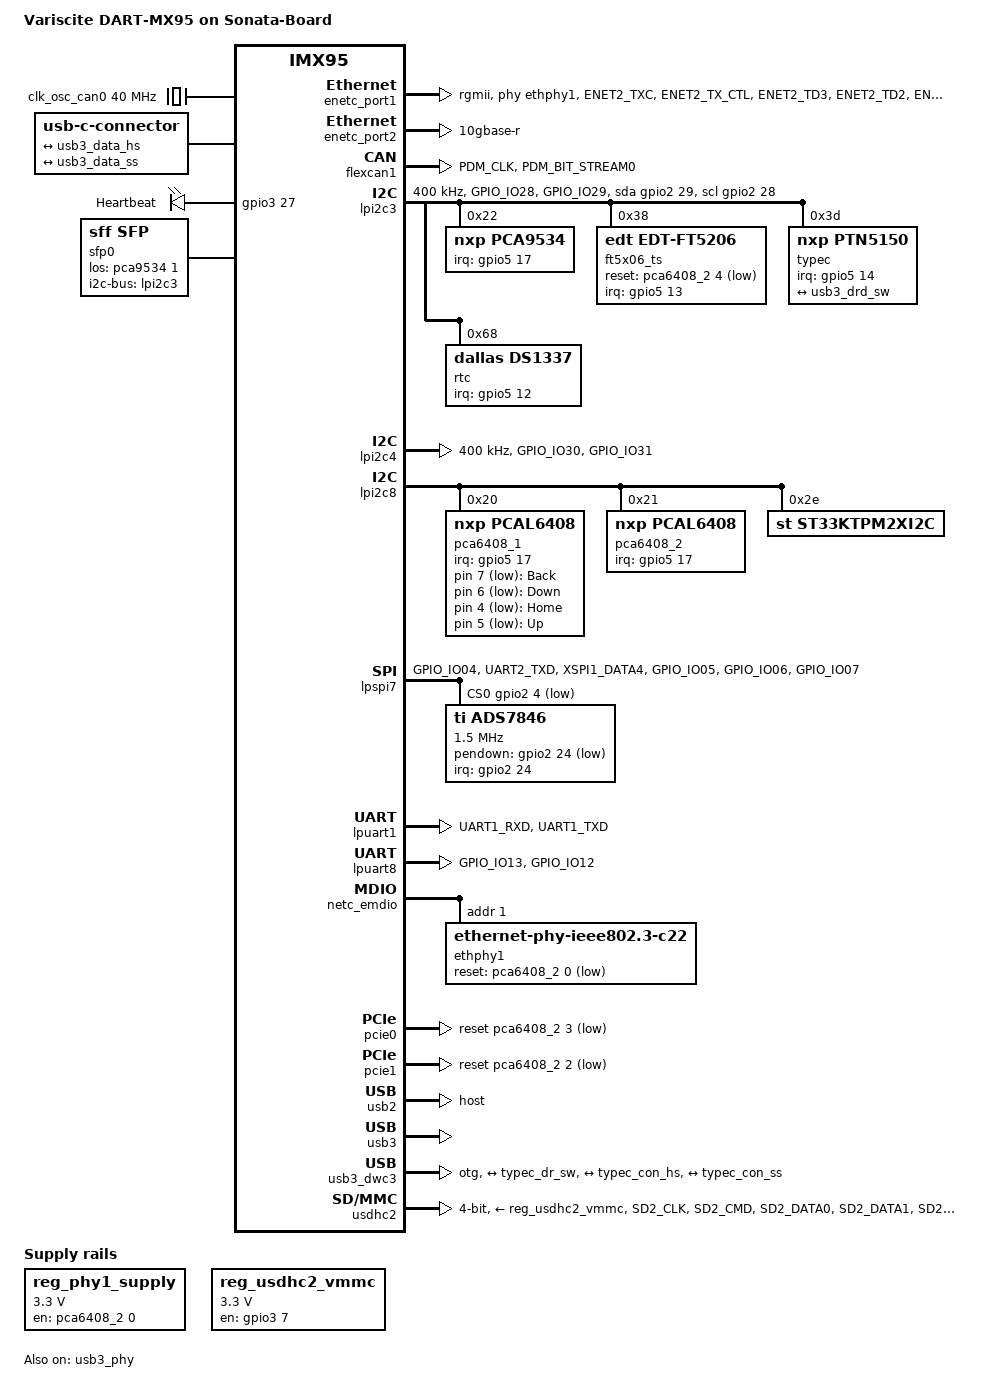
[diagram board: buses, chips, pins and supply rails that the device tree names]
// SPDX-License-Identifier: (GPL-2.0+ OR MIT)
/*
 * Variscite Sonata carrier board for DART-MX95
 *
 * Link: https://variscite.com/carrier-boards/sonata-board/
 *
 * Copyright (C) 2026 Variscite Ltd. - https://www.variscite.com/
 *
 */

#include "imx95-var-dart.dtsi"

/ {
	model = "Variscite DART-MX95 on Sonata-Board";
	compatible = "variscite,var-dart-mx95-sonata",
		     "variscite,var-dart-mx95",
		     "fsl,imx95";

	aliases {
		ethernet0 = &enetc_port0;
		ethernet1 = &enetc_port1;
		ethernet2 = &enetc_port2;
		mmc0 = &usdhc1;
		mmc1 = &usdhc2;
		serial0 = &lpuart1;
	};

	chosen {
		stdout-path = &lpuart1;
	};

	clk_osc_can0: clock-osc-40m {
		compatible = "fixed-clock";
		#clock-cells = <0>;
		clock-frequency = <40000000>;
	};

	typec_con: connector {
		compatible = "usb-c-connector";
		data-role = "dual";
		label = "USB-C";
		op-sink-microwatt = <0>;
		power-role = "dual";
		self-powered;
		sink-pdos = <PDO_FIXED(5000, 0, PDO_FIXED_USB_COMM)>;
		source-pdos = <PDO_FIXED(5000, 3000, PDO_FIXED_USB_COMM)>;
		try-power-role = "sink";

		ports {
			#address-cells = <1>;
			#size-cells = <0>;

			port@0 {
				reg = <0>;

				typec_con_hs: endpoint {
					remote-endpoint = <&usb3_data_hs>;
				};
			};

			port@1 {
				reg = <1>;

				typec_con_ss: endpoint {
					remote-endpoint = <&usb3_data_ss>;
				};
			};
		};
	};

	gpio-keys {
		compatible = "gpio-keys";

		button-back {
			gpios = <&pca6408_1 7 GPIO_ACTIVE_LOW>;
			label = "Back";
			wakeup-source;
			linux,code = <KEY_BACK>;
		};

		button-down {
			gpios = <&pca6408_1 6 GPIO_ACTIVE_LOW>;
			label = "Down";
			wakeup-source;
			linux,code = <KEY_DOWN>;
		};

		button-home {
			gpios = <&pca6408_1 4 GPIO_ACTIVE_LOW>;
			label = "Home";
			wakeup-source;
			linux,code = <KEY_HOME>;
		};

		button-up {
			gpios = <&pca6408_1 5 GPIO_ACTIVE_LOW>;
			label = "Up";
			wakeup-source;
			linux,code = <KEY_UP>;
		};
	};

	gpio-leds {
		compatible = "gpio-leds";
		pinctrl-names = "default";
		pinctrl-0 = <&pinctrl_gpio_leds>;

		led-heartbeat {
			label = "Heartbeat";
			gpios = <&gpio3 27 GPIO_ACTIVE_HIGH>;
			linux,default-trigger = "heartbeat";
		};
	};

	reg_phy1_supply: regulator-phy1 {
		compatible = "regulator-fixed";
		regulator-name = "SUPPLY_PHY1";
		regulator-min-microvolt = <3300000>;
		regulator-max-microvolt = <3300000>;
		gpio = <&pca6408_2 0 GPIO_ACTIVE_HIGH>;
		enable-active-high;
		startup-delay-us = <10000>;
		regulator-always-on;
	};

	reg_usdhc2_vmmc: regulator-vmmc-usdhc2 {
		compatible = "regulator-fixed";
		pinctrl-names = "default";
		pinctrl-0 = <&pinctrl_reg_usdhc2_vmmc>;
		regulator-name = "VDD_SD2_3V3";
		regulator-min-microvolt = <3300000>;
		regulator-max-microvolt = <3300000>;
		gpio = <&gpio3 7 GPIO_ACTIVE_HIGH>;
		enable-active-high;
		off-on-delay-us = <12000>;
	};

	sfp0: sfp {
		compatible = "sff,sfp";
		i2c-bus = <&lpi2c3>;
		los-gpios = <&pca9534 1 GPIO_ACTIVE_HIGH>;
		maximum-power-milliwatt = <2000>;
	};
};

&enetc_port1 {
	pinctrl-names = "default";
	pinctrl-0 = <&pinctrl_enetc1>;
	phy-handle = <&ethphy1>;
	/*
	 * The required RGMII TX and RX 2ns delays are implemented directly
	 * in hardware via passive delay elements on the SOM PCB.
	 * No delay configuration is needed in software via PHY driver.
	 */
	phy-mode = "rgmii";
	status = "okay";
};

&enetc_port2 {
	phy-mode = "10gbase-r";
	sfp = <&sfp0>;
	status = "okay";
};

&flexcan1 {
	pinctrl-names = "default";
	pinctrl-0 = <&pinctrl_flexcan1>;
	status = "okay";
};

&lpi2c3 {
	clock-frequency = <400000>;
	pinctrl-names = "default", "gpio", "sleep";
	pinctrl-0 = <&pinctrl_lpi2c3>;
	pinctrl-1 = <&pinctrl_lpi2c3_gpio>;
	pinctrl-2 = <&pinctrl_lpi2c3_gpio>;
	scl-gpios = <&gpio2 28 (GPIO_ACTIVE_HIGH | GPIO_OPEN_DRAIN)>;
	sda-gpios = <&gpio2 29 (GPIO_ACTIVE_HIGH | GPIO_OPEN_DRAIN)>;
	status = "okay";

	pca9534: gpio@22 {
		compatible = "nxp,pca9534";
		reg = <0x22>;
		gpio-controller;
		#gpio-cells = <2>;
		interrupt-parent = <&gpio5>;
		interrupts = <17 IRQ_TYPE_LEVEL_LOW>;

		pcie2-sel-hog {
			gpio-hog;
			gpios = <6 GPIO_ACTIVE_HIGH>;
			output-low;
			line-name = "pcie-clk-sw";
		};

		sfp-sel-hog {
			gpio-hog;
			gpios = <5 GPIO_ACTIVE_HIGH>;
			output-high;
			line-name = "sfp-sw";
		};
	};

	/* Capacitive touch controller */
	ft5x06_ts: touchscreen@38 {
		compatible = "edt,edt-ft5206";
		reg = <0x38>;
		pinctrl-names = "default";
		pinctrl-0 = <&pinctrl_captouch>;
		reset-gpios = <&pca6408_2 4 GPIO_ACTIVE_LOW>;
		interrupt-parent = <&gpio5>;
		interrupts = <13 IRQ_TYPE_EDGE_FALLING>;
		touchscreen-size-x = <800>;
		touchscreen-size-y = <480>;
		touchscreen-inverted-x;
		touchscreen-inverted-y;
		wakeup-source;
	};

	typec@3d {
		compatible = "nxp,ptn5150";
		reg = <0x3d>;
		pinctrl-names = "default";
		pinctrl-0 = <&pinctrl_ptn5150>;
		interrupt-parent = <&gpio5>;
		interrupts = <14 IRQ_TYPE_LEVEL_HIGH>;

		port {
			typec_dr_sw: endpoint {
				remote-endpoint = <&usb3_drd_sw>;
			};
		};
	};

	/* DS1337 RTC module */
	rtc@68 {
		compatible = "dallas,ds1337";
		reg = <0x68>;
		pinctrl-names = "default";
		pinctrl-0 = <&pinctrl_rtc>;
		interrupt-parent = <&gpio5>;
		interrupts = <12 IRQ_TYPE_EDGE_FALLING>;
		wakeup-source;
	};
};

&lpi2c4 {
	clock-frequency = <400000>;
	pinctrl-names = "default", "sleep";
	pinctrl-0 = <&pinctrl_lpi2c4>;
	pinctrl-1 = <&pinctrl_lpi2c4>;
	status = "okay";
};

&lpi2c8 {
	pca6408_1: gpio@20 {
		compatible = "nxp,pcal6408";
		reg = <0x20>;
		gpio-controller;
		#gpio-cells = <2>;
		interrupt-parent = <&gpio5>;
		interrupts = <17 IRQ_TYPE_LEVEL_LOW>;
	};

	pca6408_2: gpio@21 {
		compatible = "nxp,pcal6408";
		reg = <0x21>;
		gpio-controller;
		#gpio-cells = <2>;
		interrupt-parent = <&gpio5>;
		interrupts = <17 IRQ_TYPE_LEVEL_LOW>;
	};

	st33ktpm2xi2c: tpm@2e {
		compatible = "st,st33ktpm2xi2c", "tcg,tpm-tis-i2c";
		reg = <0x2e>;
	};
};

&lpspi7 {
	pinctrl-names = "default";
	pinctrl-0 = <&pinctrl_lpspi7>;
	cs-gpios = <&gpio2 4 GPIO_ACTIVE_LOW>;
	status = "okay";

	/* Resistive touch controller */
	ads7846: touchscreen@0 {
		compatible = "ti,ads7846";
		reg = <0>;
		pinctrl-names = "default";
		pinctrl-0 = <&pinctrl_restouch>;
		interrupt-parent = <&gpio2>;
		interrupts = <24 IRQ_TYPE_EDGE_FALLING>;
		pendown-gpio = <&gpio2 24 GPIO_ACTIVE_LOW>;
		spi-max-frequency = <1500000>;
		wakeup-source;
		ti,x-min = /bits/ 16 <125>;
		ti,x-max = /bits/ 16 <4008>;
		ti,y-min = /bits/ 16 <282>;
		ti,y-max = /bits/ 16 <3864>;
		ti,x-plate-ohms = /bits/ 16 <180>;
		ti,pressure-max = /bits/ 16 <255>;
		ti,debounce-max = /bits/ 16 <10>;
		ti,debounce-tol = /bits/ 16 <3>;
		ti,debounce-rep = /bits/ 16 <1>;
		ti,settle-delay-usec = /bits/ 16 <150>;
		ti,keep-vref-on;
	};
};

/* Console */
&lpuart1 {
	pinctrl-names = "default";
	pinctrl-0 = <&pinctrl_uart1>;
	status = "okay";
};

/* Header (J12.4, J12.6) */
&lpuart8 {
	pinctrl-names = "default";
	pinctrl-0 = <&pinctrl_uart8>;
	status = "okay";
};

&netc_emdio {
	ethphy1: ethernet-phy@1 {
		compatible = "ethernet-phy-ieee802.3-c22";
		reg = <1>;
		reset-gpios = <&pca6408_2 0 GPIO_ACTIVE_LOW>;
		reset-assert-us = <10000>;
		reset-deassert-us = <100000>;

		leds {
			#address-cells = <1>;
			#size-cells = <0>;

			led@0 {
				reg = <0>;
				color = <LED_COLOR_ID_YELLOW>;
				function = LED_FUNCTION_LAN;
				linux,default-trigger = "netdev";
			};

			led@1 {
				reg = <1>;
				color = <LED_COLOR_ID_GREEN>;
				function = LED_FUNCTION_LAN;
				linux,default-trigger = "netdev";
			};
		};
	};
};

&pcie0 {
	reset-gpio = <&pca6408_2 3 GPIO_ACTIVE_LOW>;
	status = "okay";
};

&pcie1 {
	reset-gpio = <&pca6408_2 2 GPIO_ACTIVE_LOW>;
	status = "okay";
};

&usb2 {
	dr_mode = "host";
	adp-disable;
	hnp-disable;
	srp-disable;
	disable-over-current;
	status = "okay";
};

&usb3 {
	status = "okay";
};

&usb3_dwc3 {
	dr_mode = "otg";
	hnp-disable;
	srp-disable;
	adp-disable;
	usb-role-switch;
	snps,dis-u1-entry-quirk;
	snps,dis-u2-entry-quirk;
	status = "okay";

	port {
		usb3_drd_sw: endpoint {
			remote-endpoint = <&typec_dr_sw>;
		};
	};

	ports {
		#address-cells = <1>;
		#size-cells = <0>;

		port@0 {
			reg = <0>;

			usb3_data_hs: endpoint {
				remote-endpoint = <&typec_con_hs>;
			};
		};

		port@1 {
			reg = <1>;
			usb3_data_ss: endpoint {
				remote-endpoint = <&typec_con_ss>;
			};
		};
	};
};

&usb3_phy {
	fsl,phy-pcs-tx-deemph-3p5db-attenuation-db = <17>;
	fsl,phy-pcs-tx-swing-full-percent = <100>;
	fsl,phy-tx-preemp-amp-tune-microamp = <600>;
	fsl,phy-tx-vboost-level-microvolt = <1156>;
	status = "okay";
};

&usdhc2 {
	pinctrl-names = "default","state_100mhz","state_200mhz","sleep";
	pinctrl-0 = <&pinctrl_usdhc2>, <&pinctrl_usdhc2_gpio>;
	pinctrl-1 = <&pinctrl_usdhc2_100mhz>, <&pinctrl_usdhc2_gpio>;
	pinctrl-2 = <&pinctrl_usdhc2_200mhz>, <&pinctrl_usdhc2_gpio>;
	pinctrl-3 = <&pinctrl_usdhc2>, <&pinctrl_usdhc2_gpio>;
	cd-gpios = <&gpio3 0 GPIO_ACTIVE_LOW>;
	vmmc-supply = <&reg_usdhc2_vmmc>;
	bus-width = <4>;
	status = "okay";
};

&scmi_iomuxc {
	pinctrl-names = "default";
	pinctrl-0 = <&pinctrl_hog>;

	pinctrl_hog: hoggrp {
		fsl,pins = <
			/* GPIO Expanders shared IRQ */
			IMX95_PAD_GPIO_IO37__GPIO5_IO_BIT17				0x31e
		>;
	};

	pinctrl_captouch: captouchgrp {
		fsl,pins = <
			IMX95_PAD_GPIO_IO33__GPIO5_IO_BIT13				0x31e
		>;
	};

	pinctrl_enetc1: enetc1grp {
		fsl,pins = <
			IMX95_PAD_ENET2_TXC__NETCMIX_TOP_ETH1_RGMII_TX_CLK		0x57e
			IMX95_PAD_ENET2_TX_CTL__NETCMIX_TOP_ETH1_RGMII_TX_CTL		0x57e
			IMX95_PAD_ENET2_TD3__NETCMIX_TOP_ETH1_RGMII_TD3			0x57e
			IMX95_PAD_ENET2_TD2__NETCMIX_TOP_ETH1_RGMII_TD2			0x57e
			IMX95_PAD_ENET2_TD1__NETCMIX_TOP_ETH1_RGMII_TD1			0x57e
			IMX95_PAD_ENET2_TD0__NETCMIX_TOP_ETH1_RGMII_TD0			0x57e
			IMX95_PAD_ENET2_RXC__NETCMIX_TOP_ETH1_RGMII_RX_CLK		0x57e
			IMX95_PAD_ENET2_RX_CTL__NETCMIX_TOP_ETH1_RGMII_RX_CTL		0x57e
			IMX95_PAD_ENET2_RD0__NETCMIX_TOP_ETH1_RGMII_RD0			0x57e
			IMX95_PAD_ENET2_RD1__NETCMIX_TOP_ETH1_RGMII_RD1			0x57e
			IMX95_PAD_ENET2_RD2__NETCMIX_TOP_ETH1_RGMII_RD2			0x57e
			IMX95_PAD_ENET2_RD3__NETCMIX_TOP_ETH1_RGMII_RD3			0x37e
		>;
	};

	pinctrl_flexcan1: flexcan1grp {
		fsl,pins = <
			IMX95_PAD_PDM_CLK__AONMIX_TOP_CAN1_TX				0x39e
			IMX95_PAD_PDM_BIT_STREAM0__AONMIX_TOP_CAN1_RX			0x39e
		>;
	};

	pinctrl_gpio_leds: ledgrp {
		fsl,pins = <
			IMX95_PAD_CCM_CLKO2__GPIO3_IO_BIT27				0x31e
		>;
	};

	pinctrl_lpi2c3: lpi2c3grp {
		fsl,pins = <
			IMX95_PAD_GPIO_IO28__LPI2C3_SDA					0x40000b9e
			IMX95_PAD_GPIO_IO29__LPI2C3_SCL					0x40000b9e
		>;
	};

	pinctrl_lpi2c3_gpio: lpi2c3gpiogrp {
		fsl,pins = <
			IMX95_PAD_GPIO_IO28__GPIO2_IO_BIT28				0x31e
			IMX95_PAD_GPIO_IO29__GPIO2_IO_BIT29				0x31e
		>;
	};

	pinctrl_lpi2c4: lpi2c4grp {
		fsl,pins = <
			IMX95_PAD_GPIO_IO30__LPI2C4_SDA					0x40000b9e
			IMX95_PAD_GPIO_IO31__LPI2C4_SCL					0x40000b9e
		>;
	};

	pinctrl_lpspi7: lpspi7grp {
		fsl,pins = <
			/* j16.4 ADS7846 */
			IMX95_PAD_GPIO_IO04__GPIO2_IO_BIT4				0x3fe
			/* j14.4 MCP2518FDT */
			IMX95_PAD_UART2_TXD__AONMIX_TOP_GPIO1_IO_BIT7			0x3fe
			/* j25.2 spidev */
			IMX95_PAD_XSPI1_DATA4__GPIO5_IO_BIT4				0x3fe
			IMX95_PAD_GPIO_IO05__LPSPI7_SIN					0x3fe
			IMX95_PAD_GPIO_IO06__LPSPI7_SOUT				0x3fe
			IMX95_PAD_GPIO_IO07__LPSPI7_SCK					0x3fe
		>;
	};

	pinctrl_ptn5150: ptn5150grp {
		fsl,pins = <
			IMX95_PAD_GPIO_IO34__GPIO5_IO_BIT14				0x31e
		>;
	};

	pinctrl_reg_usdhc2_vmmc: regusdhc2vmmcgrp {
		fsl,pins = <
			IMX95_PAD_SD2_RESET_B__GPIO3_IO_BIT7				0x31e
		>;
	};

	pinctrl_restouch: restouchgrp {
		fsl,pins = <
			IMX95_PAD_GPIO_IO24__GPIO2_IO_BIT24				0x31e
		>;
	};

	pinctrl_rtc: rtcgrp {
		fsl,pins = <
			IMX95_PAD_GPIO_IO32__GPIO5_IO_BIT12				0x31e
		>;
	};

	pinctrl_uart1: uart1grp {
		fsl,pins = <
			IMX95_PAD_UART1_RXD__AONMIX_TOP_LPUART1_RX			0x31e
			IMX95_PAD_UART1_TXD__AONMIX_TOP_LPUART1_TX			0x31e
		>;
	};

	pinctrl_uart8: uart8grp {
		fsl,pins = <
			IMX95_PAD_GPIO_IO13__LPUART8_RX					0x31e
			IMX95_PAD_GPIO_IO12__LPUART8_TX					0x31e
		>;
	};

	pinctrl_usdhc2_gpio: usdhc2gpiogrp {
		fsl,pins = <
			IMX95_PAD_SD2_CD_B__GPIO3_IO_BIT0				0x31e
		>;
	};

	pinctrl_usdhc2: usdhc2grp {
		fsl,pins = <
			IMX95_PAD_SD2_CLK__USDHC2_CLK					0x158e
			IMX95_PAD_SD2_CMD__USDHC2_CMD					0x138e
			IMX95_PAD_SD2_DATA0__USDHC2_DATA0				0x138e
			IMX95_PAD_SD2_DATA1__USDHC2_DATA1				0x138e
			IMX95_PAD_SD2_DATA2__USDHC2_DATA2				0x138e
			IMX95_PAD_SD2_DATA3__USDHC2_DATA3				0x138e
			IMX95_PAD_SD2_VSELECT__USDHC2_VSELECT				0x51e
		>;
	};

	pinctrl_usdhc2_100mhz: usdhc2-100mhzgrp {
		fsl,pins = <
			IMX95_PAD_SD2_CLK__USDHC2_CLK					0x158e
			IMX95_PAD_SD2_CMD__USDHC2_CMD					0x138e
			IMX95_PAD_SD2_DATA0__USDHC2_DATA0				0x138e
			IMX95_PAD_SD2_DATA1__USDHC2_DATA1				0x138e
			IMX95_PAD_SD2_DATA2__USDHC2_DATA2				0x138e
			IMX95_PAD_SD2_DATA3__USDHC2_DATA3				0x138e
			IMX95_PAD_SD2_VSELECT__USDHC2_VSELECT				0x51e
		>;
	};

	pinctrl_usdhc2_200mhz: usdhc2-200mhzgrp {
		fsl,pins = <
			IMX95_PAD_SD2_CLK__USDHC2_CLK					0x15fe
			IMX95_PAD_SD2_CMD__USDHC2_CMD					0x13fe
			IMX95_PAD_SD2_DATA0__USDHC2_DATA0				0x13fe
			IMX95_PAD_SD2_DATA1__USDHC2_DATA1				0x13fe
			IMX95_PAD_SD2_DATA2__USDHC2_DATA2				0x13fe
			IMX95_PAD_SD2_DATA3__USDHC2_DATA3				0x13fe
			IMX95_PAD_SD2_VSELECT__USDHC2_VSELECT				0x51e
		>;
	};
};
